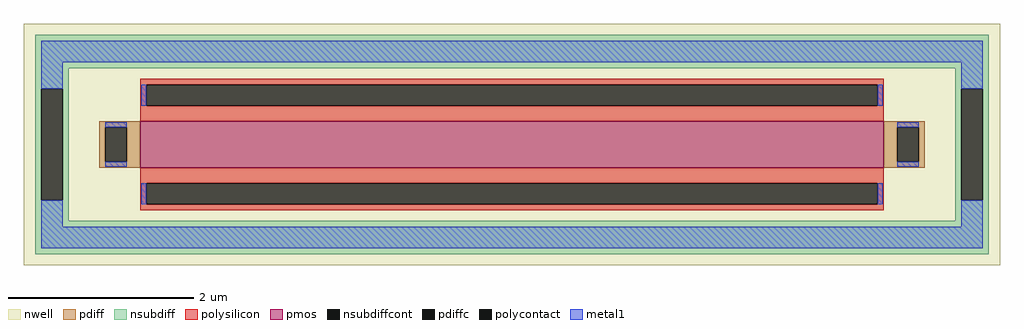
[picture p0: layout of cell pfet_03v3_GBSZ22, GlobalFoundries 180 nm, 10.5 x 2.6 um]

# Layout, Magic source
magic
tech gf180mcuD
magscale 1 10
<< nwell >>
rect -1050 -260 1050 260
<< pmos >>
rect -800 -50 800 50
<< pdiff >>
rect -888 37 -800 50
rect -888 -37 -875 37
rect -829 -37 -800 37
rect -888 -50 -800 -37
rect 800 37 888 50
rect 800 -37 829 37
rect 875 -37 888 37
rect 800 -50 888 -37
<< pdiffc >>
rect -875 -37 -829 37
rect 829 -37 875 37
<< nsubdiff >>
rect -1026 164 1026 236
rect -1026 120 -954 164
rect -1026 -120 -1013 120
rect -967 -120 -954 120
rect 954 120 1026 164
rect -1026 -164 -954 -120
rect 954 -120 967 120
rect 1013 -120 1026 120
rect 954 -164 1026 -120
rect -1026 -236 1026 -164
<< nsubdiffcont >>
rect -1013 -120 -967 120
rect 967 -120 1013 120
<< polysilicon >>
rect -800 129 800 142
rect -800 83 -787 129
rect 787 83 800 129
rect -800 50 800 83
rect -800 -83 800 -50
rect -800 -129 -787 -83
rect 787 -129 800 -83
rect -800 -142 800 -129
<< polycontact >>
rect -787 83 787 129
rect -787 -129 787 -83
<< metal1 >>
rect -1013 177 1013 223
rect -1013 120 -967 177
rect -798 83 -787 129
rect 787 83 798 129
rect 967 120 1013 177
rect -875 37 -829 48
rect -875 -48 -829 -37
rect 829 37 875 48
rect 829 -48 875 -37
rect -1013 -177 -967 -120
rect -798 -129 -787 -83
rect 787 -129 798 -83
rect 967 -177 1013 -120
rect -1013 -223 1013 -177
<< properties >>
string FIXED_BBOX -990 -200 990 200
string gencell pfet_03v3
string library gf180mcu
string parameters w 0.5 l 8.0 m 1 nf 1 diffcov 100 polycov 100 guard 1 glc 1 grc 1 gtc 0 gbc 0 tbcov 100 rlcov 100 topc 1 botc 1 poverlap 0 doverlap 1 lmin 0.28 wmin 0.22 class mosfet full_metal 1 compatible {pfet_03v3 pfet_06v0} ad {int((nf+1)/2) * W/nf * 0.18u} as {int((nf+2)/2) * W/nf * 0.18u} pd {2*int((nf+1)/2) * (W/nf + 0.18u)} ps {2*int((nf+2)/2) * (W/nf + 0.18u)} nrd {0.18u / W} nrs {0.18u / W} sa 0 sb 0 sd 0
<< end >>
